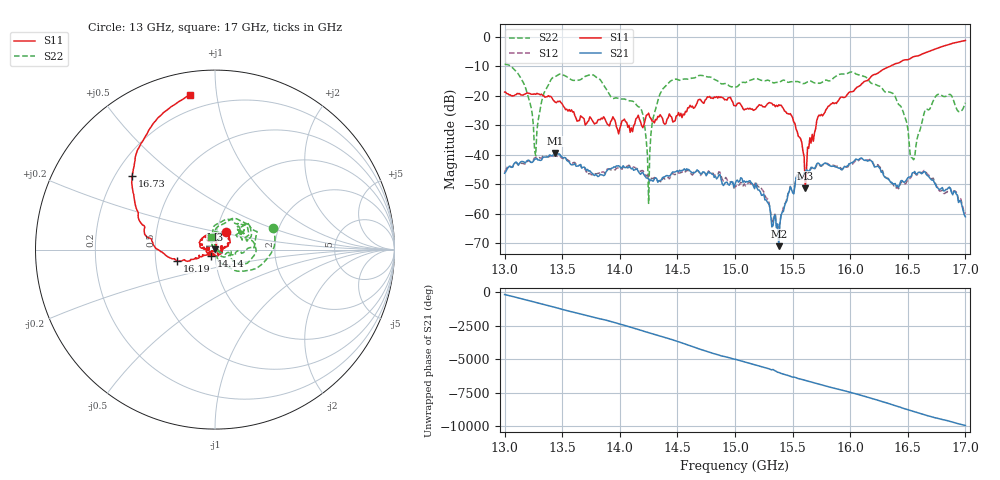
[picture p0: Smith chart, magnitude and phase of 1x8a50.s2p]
!Keysight Technologies,P9374A,MY57211807,A.19.30.04
!Date: Friday, May 08, 2026 14:14:39
!Correction: S11(C  2-Port  )
!S21(C  2-Port  )
!S12(C  2-Port  )
!S22(C  2-Port  )
!S2P File: Measurements: S11, S21, S12, S22:
# Hz S  dB  R 50
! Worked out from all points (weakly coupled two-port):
!   401 points, 13 GHz to 17 GHz, reference 50 ohm
!   highest |S21| = -39.44 dB at 13.44 GHz (marker M1); lowest = -71.1 dB at 15.38 GHz (marker M2)
!   lowest |S11| = -51.4 dB at 15.61 GHz (marker M3), VSWR 1.01, Z = 49.9 + j0.263 ohm
!   |S11| at or under -10 dB: start of sweep to 16.35 GHz
!   |S22| runs from -56.6 to -9.3 dB; largest |S21 - S12| = 0.0011
!   S11 on the Smith chart (normalised r, x): 13 GHz: 1.10, +0.22; 14.14 GHz: 0.96, -0.07; 16.19 GHz: 0.65, -0.08; 16.73 GHz: 0.27, +0.35; 17 GHz: 0.12, +0.84
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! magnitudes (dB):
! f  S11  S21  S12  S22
! 13 GHz  -18.7  -46.3  -45.8  -9.3
! 13.17 GHz  -19.5  -42.5  -43.2  -16.1
! 13.27 GHz  -19.5  -41.5  -41.0  -40.4
! 13.34 GHz  -20.0  -40.8  -40.3  -19.2
! 13.44 GHz  -22.2  -39.4  -40.3  -13.4
! 13.67 GHz  -27.2  -44.6  -44.6  -14.2
! 14.14 GHz  -27.8  -45.0  -44.6  -22.8
! 14.2 GHz  -30.8  -46.1  -45.4  -26.3
! 14.25 GHz  -25.9  -48.1  -47.3  -56.6
! 14.34 GHz  -27.2  -48.8  -49.0  -20.3
! 15 GHz  -23.4  -50.1  -51.2  -17.0
! 15.2 GHz  -23.5  -52.0  -50.8  -14.3
! 15.38 GHz  -23.0  -71.1  -64.7  -15.5
! 15.5 GHz  -27.4  -52.9  -52.2  -15.2
! 15.61 GHz  -51.4  -45.8  -45.7  -15.7
! 15.67 GHz  -33.1  -44.3  -44.7  -15.2
! 16.19 GHz  -13.1  -42.4  -42.0  -15.8
! 16.34 GHz  -10.1  -48.7  -48.8  -18.7
! 16.47 GHz  -7.8  -49.4  -49.8  -26.7
! 16.54 GHz  -6.9  -46.2  -46.6  -41.1
! 16.73 GHz  -4.2  -49.4  -48.9  -21.0
! 17 GHz  -1.2  -61.1  -59.6  -22.4
